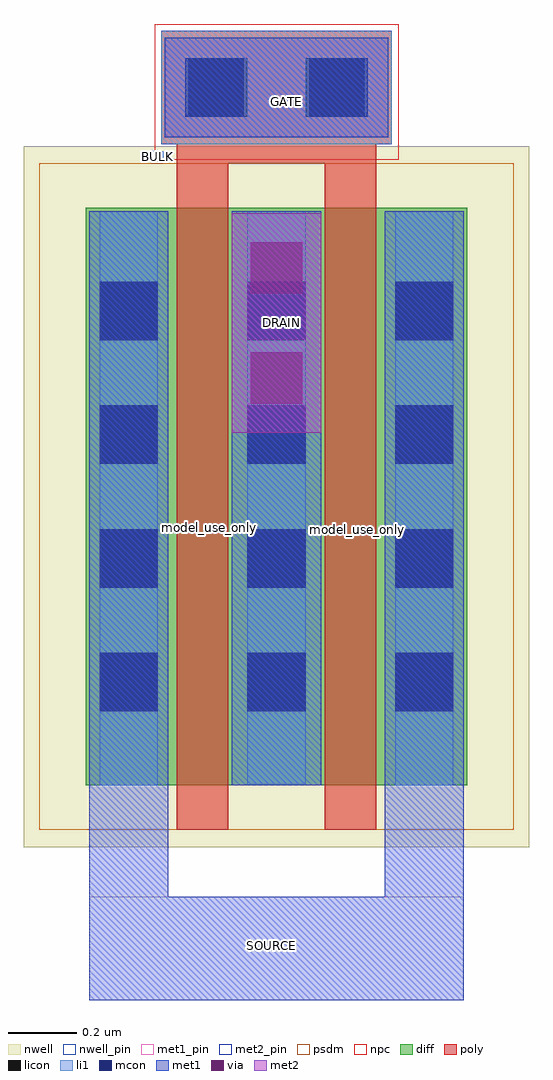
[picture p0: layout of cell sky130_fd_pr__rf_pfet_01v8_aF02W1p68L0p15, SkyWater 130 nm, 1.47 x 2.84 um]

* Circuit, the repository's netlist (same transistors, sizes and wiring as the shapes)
* Copyright 2020 The SkyWater PDK Authors
*
* Licensed under the Apache License, Version 2.0 (the "License");
* you may not use this file except in compliance with the License.
* You may obtain a copy of the License at
*
*     https://www.apache.org/licenses/LICENSE-2.0
*
* Unless required by applicable law or agreed to in writing, software
* distributed under the License is distributed on an "AS IS" BASIS,
* WITHOUT WARRANTIES OR CONDITIONS OF ANY KIND, either express or implied.
* See the License for the specific language governing permissions and
* limitations under the License.
*
* SPDX-License-Identifier: Apache-2.0


.subckt sky130_fd_pr__rf_pfet_01v8_aF02W1p68L0p15 BULK DRAIN GATE SOURCE
X0 SOURCE GATE DRAIN BULK sky130_fd_pr__pfet_01v8 w=1.68e+06u l=150000u
X1 DRAIN GATE SOURCE BULK sky130_fd_pr__pfet_01v8 w=1.68e+06u l=150000u
.ends

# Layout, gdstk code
import gdstk
lib = gdstk.Library(unit=1e-6, precision=1e-09)
def R(c, l, rs):  # rectangles x0, y0, x1, y1
    for r in rs: c.add(gdstk.rectangle(r[:2], r[2:], *l))
def A(c, l, x, y, w, h, nx, ny, dx, dy):  # array of equal rectangles
    R(c, l, [(x+i*dx, y+j*dy, x+i*dx+w, y+j*dy+h) for i in range(nx) for j in range(ny)])
nwell_pin = (64, 16)
nwell = (64, 20)
diff = (65, 20)
poly = (66, 20)
licon = (66, 44)
li1 = (67, 20)
mcon = (67, 44)
met1_pin = (68, 16)
met1 = (68, 20)
via = (68, 44)
met2_pin = (69, 16)
met2 = (69, 20)
psdm = (94, 20)
npc = (95, 20)

sky130_fd_pr__rf_pfet_01 = lib.new_cell('sky130_fd_pr__rf_pfet_01v8_aF02W1p68L0p15')
R(sky130_fd_pr__rf_pfet_01, nwell_pin, [(0.37,1.995,0.405,2.025)])
R(sky130_fd_pr__rf_pfet_01, nwell, [(0,0,0.625,2.04), (0,0,1.47,2.04), (0.415,0,1.055,2.04), (0.845,0,1.47,2.04)])
R(sky130_fd_pr__rf_pfet_01, diff, [(0.18,0.18,0.445,1.86), (0.195,0.18,0.445,1.86), (0.445,0.18,0.595,1.86), (0.595,0.18,0.875,1.86), (0.875,0.18,1.025,1.86), (1.025,0.18,1.29,1.86), (1.025,0.18,1.275,1.86)])
R(sky130_fd_pr__rf_pfet_01, poly, [(0.445,0.05,0.595,1.99), (0.445,0.05,0.595,0.18), (0.875,0.05,1.025,1.99), (0.875,0.05,1.025,0.18), (0.445,1.86,0.595,1.99), (0.875,1.86,1.025,1.99), (0.445,1.99,1.025,2.35), (0.4,2.045,1.07,2.375)])
A(sky130_fd_pr__rf_pfet_01, licon, 0.22, 0.395, 0.17, 0.17, 3, 4, 0.43, 0.36)
R(sky130_fd_pr__rf_pfet_01, licon, [(0.48,2.125,0.65,2.295), (0.82,2.125,0.99,2.295)])
A(sky130_fd_pr__rf_pfet_01, li1, 0.22, 0.18, 0.17, 1.67, 3, 1, 0.43, 0)
R(sky130_fd_pr__rf_pfet_01, li1, [(0.4,2.045,1.07,2.375), (0.47,2.125,1,2.295)])
A(sky130_fd_pr__rf_pfet_01, mcon, 0.22, 0.395, 0.17, 0.17, 3, 4, 0.43, 0.36)
R(sky130_fd_pr__rf_pfet_01, mcon, [(0.47,2.125,0.64,2.295), (0.83,2.125,1,2.295)])
R(sky130_fd_pr__rf_pfet_01, met1_pin, [(0.19,-0.445,1.28,-0.145), (0.41,2.065,1.06,2.355)])
R(sky130_fd_pr__rf_pfet_01, met1, [(0.605,1.2,0.865,1.85), (0.41,2.065,1.06,2.355)])
R(sky130_fd_pr__rf_pfet_01, via, [(0.66,1.29,0.81,1.44), (0.66,1.61,0.81,1.76)])
R(sky130_fd_pr__rf_pfet_01, met2_pin, [(0.605,1.205,0.865,1.845)])
R(sky130_fd_pr__rf_pfet_01, met2, [(0.605,1.205,0.865,1.845)])
R(sky130_fd_pr__rf_pfet_01, psdm, [(0.045,0.05,0.575,1.99), (0.195,0.05,0.595,1.99), (0.465,0.05,1.005,1.99), (0.625,0.05,1.275,1.99), (0.895,0.05,1.425,1.99)])
R(sky130_fd_pr__rf_pfet_01, npc, [(0.38,2,1.09,2.395)])
sky130_fd_pr__rf_pfet_01.add(gdstk.FlexPath([(0.305,1.85),(0.305,-0.445)], 0.23, ends="flush", simple_path=True, layer=68, datatype=20))  # met1
sky130_fd_pr__rf_pfet_01.add(gdstk.FlexPath([(0.735,1.85),(0.735,0.18)], 0.26, ends="flush", simple_path=True, layer=68, datatype=20))  # met1
sky130_fd_pr__rf_pfet_01.add(gdstk.FlexPath([(1.165,1.85),(1.165,-0.445)], 0.23, ends="flush", simple_path=True, layer=68, datatype=20))  # met1
sky130_fd_pr__rf_pfet_01.add(gdstk.FlexPath([(0.19,-0.295),(1.28,-0.295)], 0.3, ends="flush", simple_path=True, layer=68, datatype=20))  # met1
sky130_fd_pr__rf_pfet_01.add(gdstk.Label('model_use_only', (0.54,0.93), layer=66, texttype=83))
sky130_fd_pr__rf_pfet_01.add(gdstk.Label('model_use_only', (0.97,0.925), layer=66, texttype=83))
sky130_fd_pr__rf_pfet_01.add(gdstk.Label('DRAIN', (0.75,1.525), layer=69, texttype=16))
sky130_fd_pr__rf_pfet_01.add(gdstk.Label('SOURCE', (0.72,-0.285), layer=68, texttype=16))
sky130_fd_pr__rf_pfet_01.add(gdstk.Label('GATE', (0.765,2.17), layer=68, texttype=16))
sky130_fd_pr__rf_pfet_01.add(gdstk.Label('BULK', (0.39,2.01), layer=64, texttype=5))

lib.write_gds('sky130_fd_pr__rf_pfet_01v8_aF02W1p68L0p15.gds')
